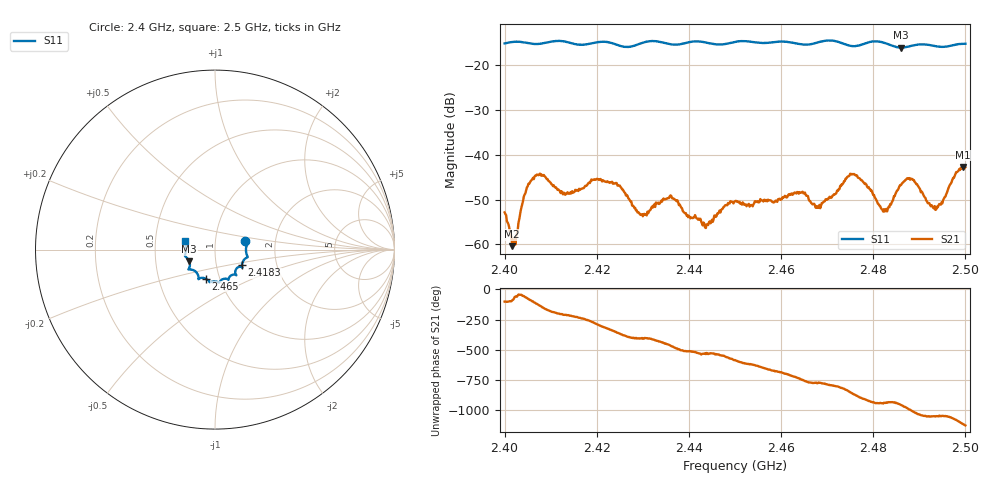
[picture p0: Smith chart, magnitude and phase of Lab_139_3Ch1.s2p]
# Hz S RI R 50
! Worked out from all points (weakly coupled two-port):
!   601 points, 2.4 GHz to 2.5 GHz, reference 50 ohm
!   highest |S21| = -42.72 dB at 2.4995 GHz (marker M1); lowest = -60.4 dB at 2.4017 GHz (marker M2)
!   lowest |S11| = -16.1 dB at 2.486 GHz (marker M3), VSWR 1.37, Z = 37.2 - j4.96 ohm
!   |S11| at or under -10 dB: start of sweep to end of sweep
!   S12 and S22 are empty: the file has one direction only
!   S11 on the Smith chart (normalised r, x): 2.4 GHz: 1.40, +0.13; 2.4183 GHz: 1.33, -0.24; 2.465 GHz: 0.86, -0.29; 2.5 GHz: 0.71, +0.07
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2.4e9  0.1692 0.0459  -0.000452 -0.00224  0 0  0 0
2.401667e9  0.1777 0.038  -5.41e-06 -0.000957  0 0  0 0
2.402333e9  0.1793 0.0356  0.000499 -0.000862  0 0  0 0
2.404667e9  0.1768 0.0223  0.00153 -0.00371  0 0  0 0
2.406667e9  0.1724 0.00104  -0.00224 -0.00542  0 0  0 0
2.416667e9  0.1548 -0.068  -0.0021 0.00363  0 0  0 0
2.418333e9  0.1501 -0.0872  -0.00101 0.0048  0 0  0 0
2.4245e9  0.1387 -0.0953  0.00453 6.22e-05  0 0  0 0
2.429667e9  0.1133 -0.1346  0.00153 -0.00153  0 0  0 0
2.433333e9  0.1174 -0.1412  0.00113 -0.00271  0 0  0 0
2.436333e9  0.0963 -0.1407  -0.00127 -0.00303  0 0  0 0
2.4435e9  0.0707 -0.1654  -0.00152 -0.000285  0 0  0 0
2.45e9  0.0253 -0.1807  -0.00215 0.00215  0 0  0 0
2.465e9  -0.0525 -0.1616  0.00308 -0.00212  0 0  0 0
2.466667e9  -0.0714 -0.1572  0.00176 -0.00225  0 0  0 0
2.4755e9  -0.1054 -0.125  -0.00482 -0.00376  0 0  0 0
2.483333e9  -0.1413 -0.0963  -0.0022 0.00144  0 0  0 0
2.486e9  -0.1432 -0.065  -0.00254 0.00383  0 0  0 0
2.488667e9  -0.1609 -0.0424  0.00188 0.00488  0 0  0 0
2.4935e9  -0.1626 -0.0146  0.00213 0.00116  0 0  0 0
2.4995e9  -0.168 0.0443  0.00602 -0.00414  0 0  0 0
2.5e9  -0.1674 0.0467  0.00505 -0.00523  0 0  0 0
